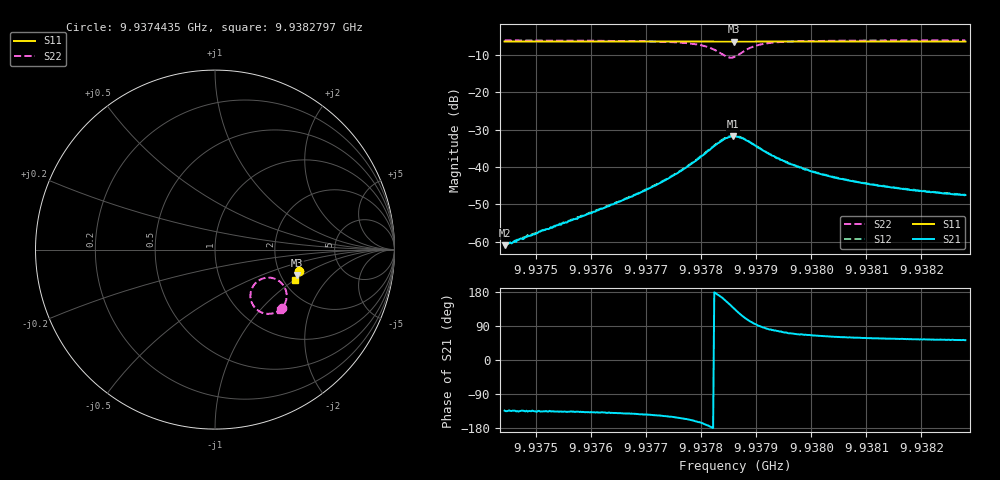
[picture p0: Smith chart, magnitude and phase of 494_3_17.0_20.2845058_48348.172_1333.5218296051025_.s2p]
#  HZ  S  RI  R  50.00
! Rohde & Schwarz Vector Network Analyzer
! Rohde-Schwarz,ZNB20-2Port,1311601062101988,3.16
! Created: UTC 3/20/2024, 11:14:13 PM
! freq[Hz]  re:S11  im:S11  re:S21  im:S21  re:S12  im:S12  re:S22  im:S22
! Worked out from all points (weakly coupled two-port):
!   401 points, 9.9374435 GHz to 9.9382797 GHz, reference 50 ohm
!   highest |S21| = -31.74 dB at 9.9378574 GHz (marker M1); lowest = -61.0 dB at 9.9374435 GHz (marker M2)
!   lowest |S11| = -6.4 dB at 9.9378595 GHz (marker M3), VSWR 2.83, Z = 122 - j45.3 ohm
!   |S11| at or under -10 dB: nowhere
!   |S22| runs from -10.7 to -6.1 dB; largest |S21 - S12| = 0.0011
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9.93744351e9  0.4684 -0.1178  -0.000613 -0.000645  -0.000611 -0.000621  0.3747 -0.3265
9.93748114e9  0.4676 -0.1205  -0.000834 -0.000814  -0.000799 -0.000814  0.3712 -0.3293
9.93758357e9  0.4652 -0.1273  -0.0016 -0.00147  -0.00167 -0.00148  0.3589 -0.3385
9.93767138e9  0.463 -0.1331  -0.0031 -0.00245  -0.00317 -0.00246  0.3418 -0.3484
9.93772364e9  0.4615 -0.1368  -0.00503 -0.00336  -0.00516 -0.00329  0.3229 -0.3551
9.93776754e9  0.4603 -0.1398  -0.00839 -0.004  -0.00861 -0.00397  0.2929 -0.3578
9.93780935e9  0.4584 -0.1426  -0.0155 -0.00248  -0.016 -0.00221  0.237 -0.3373
9.93782398e9  0.4575 -0.1433  -0.0191 0.000544  -0.0195 0.000886  0.2116 -0.3088
9.93783862e9  0.4567 -0.1435  -0.022 0.00626  -0.0223 0.00708  0.1971 -0.2579
9.93784907e9  0.4562 -0.1436  -0.0218 0.0123  -0.0219 0.0132  0.2079 -0.2121
9.93785743e9  0.4563 -0.1434  -0.0196 0.0169  -0.0193 0.0178  0.2331 -0.1799
9.93785952e9  0.4562 -0.1434  -0.0187 0.0178  -0.0185 0.0187  0.2413 -0.1735
9.93786161e9  0.4564 -0.1435  -0.0178 0.0187  -0.0173 0.0196  0.2499 -0.1684
9.93787207e9  0.4566 -0.1438  -0.0122 0.0216  -0.0118 0.0221  0.2963 -0.1562
9.9378867e9  0.4571 -0.1443  -0.00535 0.0213  -0.00472 0.0216  0.3495 -0.17
9.9379097e9  0.4573 -0.1463  0.000748 0.0172  0.00112 0.0172  0.3883 -0.2114
9.93795778e9  0.4566 -0.15  0.0037 0.0106  0.00386 0.0108  0.3987 -0.2679
9.93800168e9  0.4555 -0.1531  0.00369 0.0079  0.00387 0.00787  0.3935 -0.2925
9.93804976e9  0.4543 -0.1565  0.00342 0.00614  0.00357 0.00616  0.3867 -0.3078
9.93814174e9  0.4518 -0.1625  0.003 0.00449  0.0031 0.00445  0.376 -0.3246
9.93821282e9  0.45 -0.1673  0.00272 0.00375  0.00283 0.00377  0.3692 -0.3329
9.93827972e9  0.4479 -0.1713  0.00258 0.00333  0.00264 0.00331  0.3638 -0.3389
